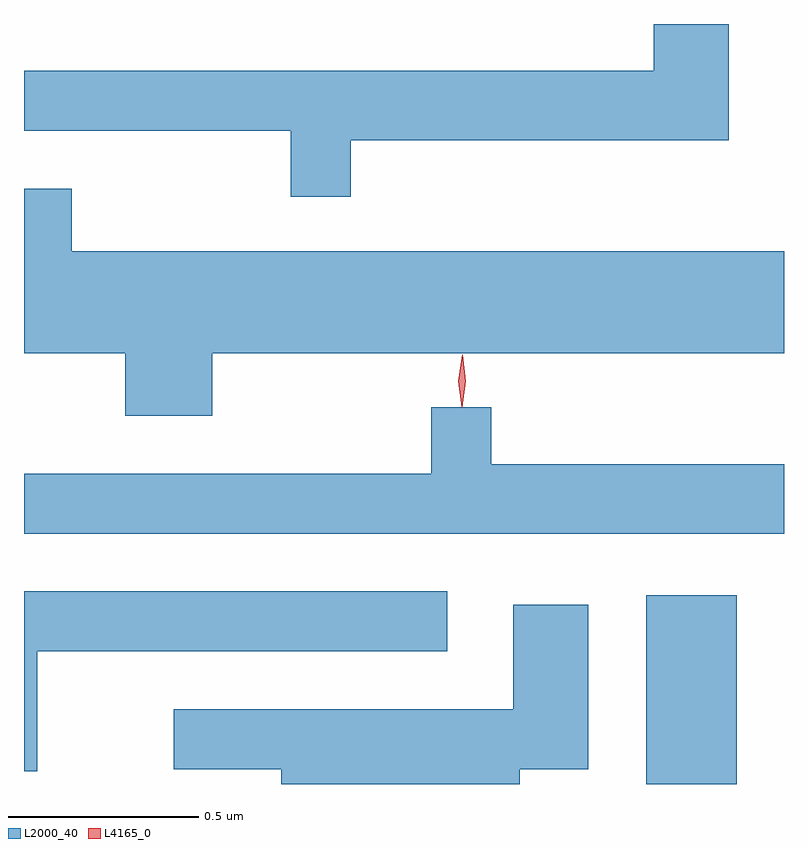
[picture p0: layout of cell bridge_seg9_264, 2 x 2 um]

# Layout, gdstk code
import gdstk
lib = gdstk.Library(unit=1e-6, precision=1e-09)
def R(c, l, rs):  # rectangles x0, y0, x1, y1
    for r in rs: c.add(gdstk.rectangle(r[:2], r[2:], *l))
def P(c, l, *ps):  # polygons
    for p in ps: c.add(gdstk.Polygon(p, *l))
L2000_40 = (2000, 40)
L4165_0 = (4165, 0)

bridge_seg9_264 = lib.new_cell('bridge_seg9_264')
R(bridge_seg9_264, L2000_40, [(1286.056,1948.502,1286.294,1948.999)])
P(bridge_seg9_264, L2000_40, [(1285.279,1950.196),(1286.274,1950.196),(1286.274,1950.502),(1286.076,1950.502),(1286.076,1950.379),(1284.419,1950.379),(1284.419,1950.221),(1285.121,1950.221),(1285.121,1950.048),(1285.279,1950.048)],
  [(1284.914,1949.636),(1286.419,1949.636),(1286.419,1949.904),(1284.544,1949.904),(1284.544,1950.069),(1284.419,1950.069),(1284.419,1949.636),(1284.686,1949.636),(1284.686,1949.471),(1284.914,1949.471)],
  [(1286.419,1949.344),(1285.649,1949.344),(1285.649,1949.493),(1285.491,1949.493),(1285.491,1949.319),(1284.419,1949.319),(1284.419,1949.161),(1286.419,1949.161)],
  [(1284.454,1948.851),(1285.533,1948.851),(1285.533,1949.009),(1284.419,1949.009),(1284.419,1948.536),(1284.454,1948.536)],
  [(1285.724,1948.541),(1285.904,1948.541),(1285.904,1948.974),(1285.706,1948.974),(1285.706,1948.699),(1284.813,1948.699),(1284.813,1948.541),(1285.096,1948.541),(1285.096,1948.502),(1285.724,1948.502)])
P(bridge_seg9_264, L4165_0, [(1285.571,1949.493),(1285.562,1949.562),(1285.572,1949.631),(1285.572,1949.631),(1285.573,1949.631),(1285.582,1949.562),(1285.572,1949.493),(1285.572,1949.493)])

lib.write_gds('bridge_seg9_264.gds')
